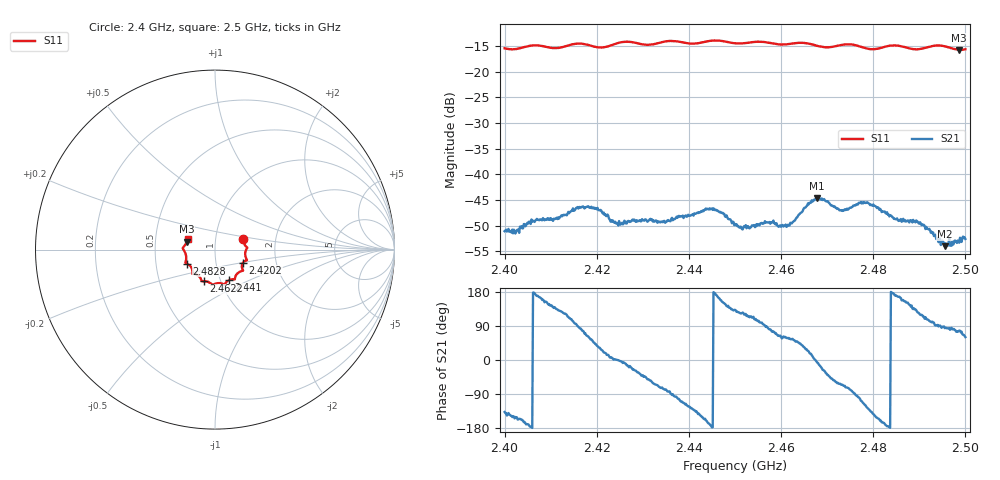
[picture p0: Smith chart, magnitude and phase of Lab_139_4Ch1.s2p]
# Hz S RI R 50
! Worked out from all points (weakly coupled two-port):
!   601 points, 2.4 GHz to 2.5 GHz, reference 50 ohm
!   highest |S21| = -44.64 dB at 2.4678 GHz (marker M1); lowest = -54.0 dB at 2.4955 GHz (marker M2)
!   lowest |S11| = -15.8 dB at 2.4987 GHz (marker M3), VSWR 1.39, Z = 36.3 + j3.25 ohm
!   |S11| at or under -10 dB: start of sweep to end of sweep
!   S12 and S22 are empty: the file has one direction only
!   S11 on the Smith chart (normalised r, x): 2.4 GHz: 1.36, +0.17; 2.4202 GHz: 1.35, -0.20; 2.441 GHz: 1.10, -0.39; 2.4622 GHz: 0.83, -0.30; 2.4828 GHz: 0.72, -0.12; 2.5 GHz: 0.73, +0.09
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2.4e9  0.1573 0.0606  -0.00206 -0.0019  0 0  0 0
2.402667e9  0.1637 0.0301  -0.00251 -0.00138  0 0  0 0
2.405833e9  0.1787 0.0131  -0.00364 -0.000176  0 0  0 0
2.411e9  0.1682 -0.0183  -0.0027 0.00251  0 0  0 0
2.416667e9  0.1775 -0.0591  0.000782 0.00474  0 0  0 0
2.420167e9  0.1569 -0.072  0.00379 0.00282  0 0  0 0
2.424667e9  0.1542 -0.1114  0.00318 -2.46e-05  0 0  0 0
2.433333e9  0.1127 -0.152  0.00128 -0.00325  0 0  0 0
2.441e9  0.0773 -0.1705  -0.00261 -0.003  0 0  0 0
2.445333e9  0.0528 -0.1937  -0.00468 7.9e-05  0 0  0 0
2.45e9  0.0271 -0.1868  -0.00222 0.00244  0 0  0 0
2.462167e9  -0.0627 -0.1763  0.00195 0.00274  0 0  0 0
2.466667e9  -0.0774 -0.1674  0.00547 0.00119  0 0  0 0
2.467833e9  -0.081 -0.1587  0.00582 -0.000698  0 0  0 0
2.473167e9  -0.1217 -0.1356  0.00188 -0.00408  0 0  0 0
2.4785e9  -0.1281 -0.1092  -0.00292 -0.00442  0 0  0 0
2.482833e9  -0.1577 -0.0778  -0.00413 -0.000519  0 0  0 0
2.483333e9  -0.1605 -0.0767  -0.00406 -0.00031  0 0  0 0
2.489833e9  -0.1633 -0.0252  -0.00191 0.00275  0 0  0 0
2.4955e9  -0.176 0.0143  0.000205 0.00199  0 0  0 0
2.498667e9  -0.1569 0.0436  0.000464 0.00212  0 0  0 0
2.5e9  -0.1531 0.0618  0.00116 0.00205  0 0  0 0
